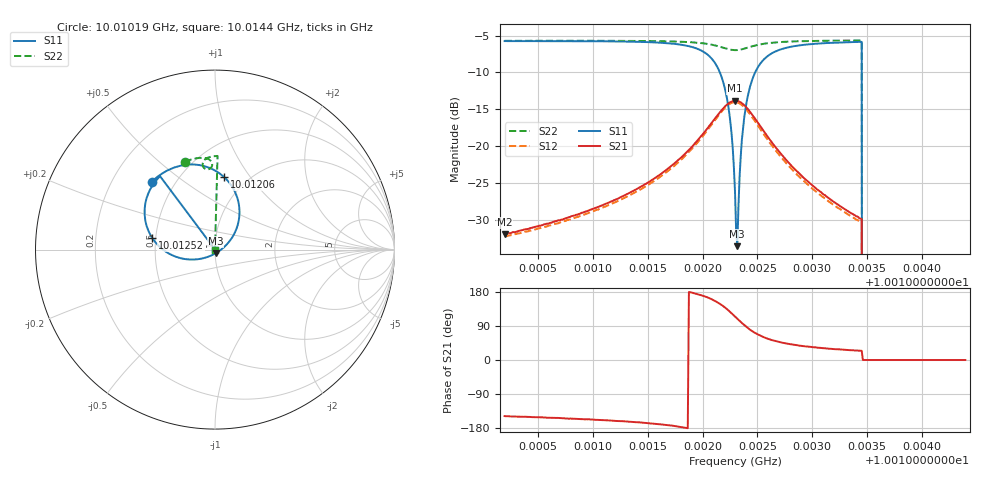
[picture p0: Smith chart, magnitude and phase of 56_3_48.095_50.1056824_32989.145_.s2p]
#  HZ  S  RI  R  50.00
! Rohde & Schwarz Vector Network Analyzer
! Rohde-Schwarz,ZNB20-2Port,1311601062101988,3.16
! Created: UTC 12/23/2023, 3:40:17 AM
! freq[Hz]  re:S11  im:S11  re:S21  im:S21  re:S12  im:S12  re:S22  im:S22
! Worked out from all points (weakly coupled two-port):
!   401 points, 10.01019 GHz to 10.0144 GHz, reference 50 ohm
!   highest |S21| = -13.84 dB at 10.0123 GHz (marker M1); lowest = -32.0 dB at 10.01019 GHz (marker M2)
!   lowest |S11| = -33.6 dB at 10.01232 GHz (marker M3), VSWR 1.04, Z = 50.4 - j2.06 ohm
!   |S11| at or under -10 dB: 10.01216 GHz to 10.01248 GHz (321.9 kHz wide, 0.00321 % of centre); 10.01345 GHz to end of sweep
!   |S22| runs from - to -5.6 dB; largest |S21 - S12| = 0.0096
!   S11 on the Smith chart (normalised r, x): 10.01019 GHz: 0.37, +0.38; 10.01206 GHz: 0.79, +0.76; 10.01252 GHz: 0.48, +0.07; 10.0144 GHz: 1.00, +0.00
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1.0010194e10  -0.3537 0.377  -0.0213 -0.0133  -0.0199 -0.0137  -0.1693 0.4908
1.0010898e10  -0.2976 0.422  -0.0321 -0.0143  -0.03 -0.0152  -0.1229 0.5047
1.0011602e10  -0.1864 0.4689  -0.0621 -0.0118  -0.059 -0.0145  -0.0693 0.5115
1.0011896e10  -0.07 0.4675  -0.0977 0.0032  -0.0946 -0.00172  -0.0398 0.506
1.0012065e10  0.0519 0.4028  -0.1317 0.0406  -0.1301 0.0326  -0.021 0.491
1.0012159e10  0.1242 0.2887  -0.144 0.0903  -0.1453 0.081  -0.0156 0.4729
1.0012222e10  0.1328 0.1644  -0.1335 0.1365  -0.136 0.1286  -0.0206 0.4578
1.0012264e10  0.0982 0.0715  -0.1102 0.1673  -0.1144 0.1595  -0.0294 0.4497
1.0012296e10  0.0477 0.0111  -0.0851 0.1845  -0.0891 0.1775  -0.0385 0.4469
1.0012306e10  0.0255 -0.00658  -0.075 0.1886  -0.0791 0.1819  -0.0418 0.4467
1.0012317e10  0.00395 -0.0205  -0.0658 0.1915  -0.0697 0.1848  -0.0449 0.4468
1.0012327e10  -0.0208 -0.0329  -0.0557 0.1935  -0.0596 0.1871  -0.0479 0.4472
1.0012359e10  -0.0966 -0.0539  -0.0257 0.1935  -0.0303 0.1873  -0.0566 0.4511
1.001239e10  -0.1684 -0.0525  0.0012 0.1862  -0.0035 0.1801  -0.0629 0.457
1.0012443e10  -0.2673 -0.0158  0.0348 0.1634  0.0287 0.1581  -0.0683 0.469
1.0012517e10  -0.3486 0.0633  0.0574 0.1274  0.0516 0.1233  -0.0674 0.4846
1.0012727e10  -0.3908 0.2371  0.0603 0.0618  0.055 0.061  -0.0477 0.508
1.0013e10  -0.3594 0.3386  0.0448 0.0303  0.0412 0.0308  -0.0218 0.5177
1.0013431e10  -0.3083 0.4068  0.0293 0.0133  0.0272 0.0142  0.0124 0.5217
1.0013484e10  0 0  0 0  0 0  0 0
1.0013704e10  0 0  0 0  0 0  0 0
1.0014398e10  0 0  0 0  0 0  0 0
